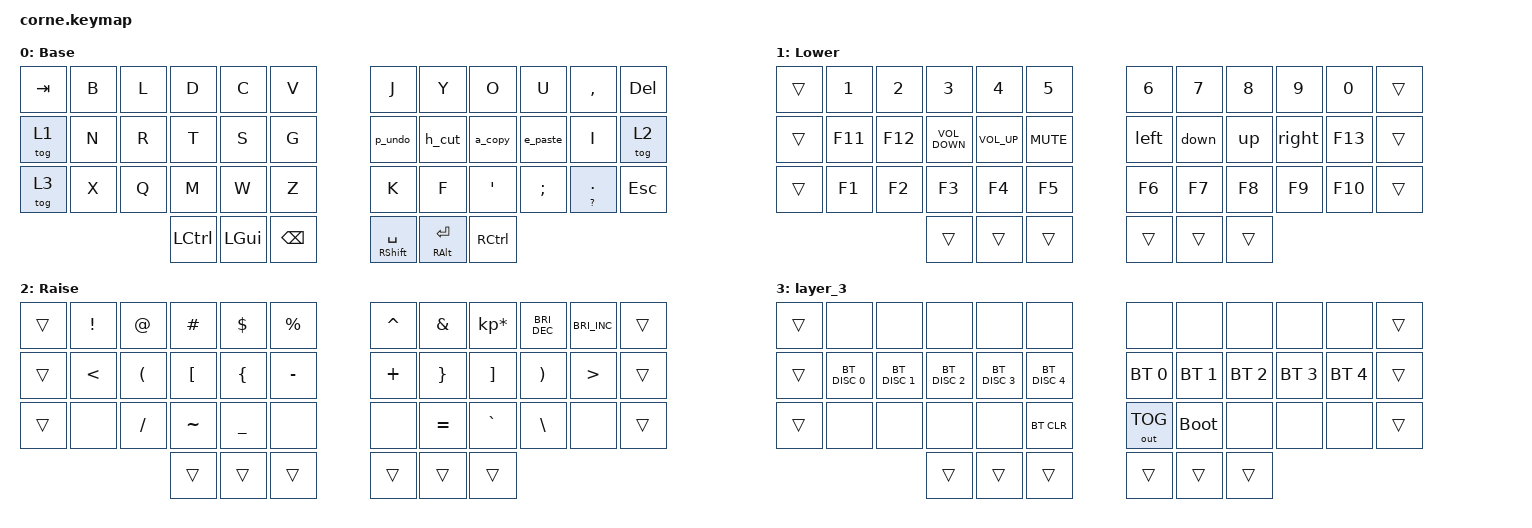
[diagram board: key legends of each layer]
/*
 * Copyright (c) 2020 The ZMK Contributors
 *
 * SPDX-License-Identifier: MIT
 */

#include <behaviors.dtsi>
#include <dt-bindings/zmk/bt.h>
#include <dt-bindings/zmk/keys.h>
#include <dt-bindings/zmk/outputs.h>
#include <dt-bindings/zmk/pointing.h>

/ {
    behaviors {
        up: up {
            compatible = "zmk,behavior-mod-morph";
            label = "UP";
            bindings = <&kp UP>, <&msc SCRL_UP>;

            #binding-cells = <0>;
            mods = <(MOD_LGUI)>;
            keep-mods = <(MOD_LGUI)>;
        };

        down: down {
            compatible = "zmk,behavior-mod-morph";
            label = "DOWN";
            bindings = <&kp DOWN>, <&msc SCRL_DOWN>;

            #binding-cells = <0>;
            mods = <(MOD_LGUI)>;
            keep-mods = <(MOD_LGUI)>;
        };

        left: left {
            compatible = "zmk,behavior-mod-morph";
            label = "LEFT";
            bindings = <&kp LEFT>, <&msc SCRL_LEFT>;

            #binding-cells = <0>;
            mods = <(MOD_LGUI)>;
            keep-mods = <(MOD_LGUI)>;
        };

        right: right {
            compatible = "zmk,behavior-mod-morph";
            label = "RIGHT";
            bindings = <&kp RIGHT>, <&msc SCRL_RIGHT>;

            #binding-cells = <0>;
            mods = <(MOD_LGUI)>;
            keep-mods = <(MOD_LGUI)>;
        };

        p_undo: p_undo {
            compatible = "zmk,behavior-mod-morph";
            label = "P_UNDO";
            bindings = <&kp P>, <&kp Z>;

            #binding-cells = <0>;
            mods = <(MOD_LGUI|MOD_LCTL)>;
            keep-mods = <(MOD_LCTL|MOD_LGUI)>;
        };

        h_cut: h_cut {
            compatible = "zmk,behavior-mod-morph";
            label = "H_CUT";
            bindings = <&kp H>, <&kp X>;

            #binding-cells = <0>;
            mods = <(MOD_LGUI|MOD_LCTL)>;
            keep-mods = <(MOD_LCTL|MOD_LGUI)>;
        };

        a_copy: a_copy {
            compatible = "zmk,behavior-mod-morph";
            label = "A_COPY";
            bindings = <&kp A>, <&kp C>;

            #binding-cells = <0>;
            mods = <(MOD_LCTL|MOD_LGUI)>;
            keep-mods = <(MOD_LCTL|MOD_LGUI)>;
        };

        e_paste: e_paste {
            compatible = "zmk,behavior-mod-morph";
            label = "E_PASTE";
            bindings = <&kp E>, <&kp V>;

            #binding-cells = <0>;
            mods = <(MOD_LCTL|MOD_LGUI)>;
            keep-mods = <(MOD_LGUI|MOD_LCTL)>;
        };
    };

    keymap {
        compatible = "zmk,keymap";

        default_layer {
            // -----------------------------------------------------------------------------------------
            // |  TAB |  Q  |  W  |  E  |  R  |  T  |   |  Y  |  U   |  I  |  O  |  P  | BKSP |
            // | CTRL |  A  |  S  |  D  |  F  |  G  |   |  H  |  J   |  K  |  L  |  ;  |  '   |
            // | SHFT |  Z  |  X  |  C  |  V  |  B  |   |  N  |  M   |  ,  |  .  |  /  | ESC  |
            //                    | GUI | LWR | SPC |   | ENT | RSE  | ALT |

            display-name = "Base";
            bindings = <
&kp TAB  &kp B  &kp L  &kp D             &kp C         &kp V            &kp J                  &kp Y                &kp O              &kp U          &kp COMMA            &kp DELETE
&tog 1   &kp N  &kp R  &kp T             &kp S         &kp G            &p_undo                &h_cut               &a_copy            &e_paste       &kp I                &tog 2
&tog 3   &kp X  &kp Q  &kp M             &kp W         &kp Z            &kp K                  &kp F                &kp SQT            &kp SEMICOLON  &mt QUESTION PERIOD  &kp ESC
                       &kp LEFT_CONTROL  &kp LEFT_GUI  &kp BACKSPACE    &mt RIGHT_SHIFT SPACE  &mt RIGHT_ALT ENTER  &kp RIGHT_CONTROL
            >;
        };

        lower_layer {
            // -----------------------------------------------------------------------------------------
            // |  TAB |  1  |  2  |  3  |  4  |  5  |   |  6  |  7  |  8  |  9  |  0  | BKSP |
            // | BTCLR| BT1 | BT2 | BT3 | BT4 | BT5 |   | LFT | DWN |  UP | RGT |     |      |
            // | SHFT |     |     |     |     |     |   |     |     |     |     |     |      |
            //                    | GUI |     | SPC |   | ENT |     | ALT |

            display-name = "Lower";
            bindings = <
&trans  &kp N1   &kp N2   &kp N3             &kp N4           &kp N5        &kp N6  &kp N7  &kp N8  &kp N9  &kp N0   &trans
&trans  &kp F11  &kp F12  &kp K_VOLUME_DOWN  &kp C_VOLUME_UP  &kp C_MUTE    &left   &down   &up     &right  &kp F13  &trans
&trans  &kp F1   &kp F2   &kp F3             &kp F4           &kp F5        &kp F6  &kp F7  &kp F8  &kp F9  &kp F10  &trans
                          &trans             &trans           &trans        &trans  &trans  &trans
            >;
        };

        raise_layer {
            // -----------------------------------------------------------------------------------------
            // |  TAB |  !  |  @  |  #  |  $  |  %  |   |  ^  |  &  |  *  |  (  |  )  | BKSP |
            // | CTRL |     |     |     |     |     |   |  -  |  =  |  [  |  ]  |  \  |  `   |
            // | SHFT |     |     |     |     |     |   |  _  |  +  |  {  |  }  | "|" |  ~   |
            //                    | GUI |     | SPC |   | ENT |     | ALT |

            display-name = "Raise";
            bindings = <
&trans  &kp EXCL  &kp AT     &kp HASH   &kp DLLR   &kp PRCNT    &kp CARET  &kp AMPS   &kp KP_MULTIPLY  &kp C_BRIGHTNESS_DEC  &kp C_BRIGHTNESS_INC  &trans
&trans  &kp LT    &kp LPAR   &kp LBKT   &kp LBRC   &kp MINUS    &kp PLUS   &kp RBRC   &kp RBKT         &kp RPAR              &kp GREATER_THAN      &trans
&trans  &none     &kp SLASH  &kp TILDE  &kp UNDER  &none        &none      &kp EQUAL  &kp GRAVE        &kp BACKSLASH         &none                 &trans
                             &trans     &trans     &trans       &trans     &trans     &trans
            >;
        };

        layer_3 {
            bindings = <
&trans  &none          &none          &none          &none          &none            &none         &none         &none         &none         &none         &trans
&trans  &bt BT_DISC 0  &bt BT_DISC 1  &bt BT_DISC 2  &bt BT_DISC 3  &bt BT_DISC 4    &bt BT_SEL 0  &bt BT_SEL 1  &bt BT_SEL 2  &bt BT_SEL 3  &bt BT_SEL 4  &trans
&trans  &none          &none          &none          &none          &bt BT_CLR       &out OUT_TOG  &bootloader   &none         &none         &none         &trans
                                      &trans         &trans         &trans           &trans        &trans        &trans
            >;
        };
    };
};
